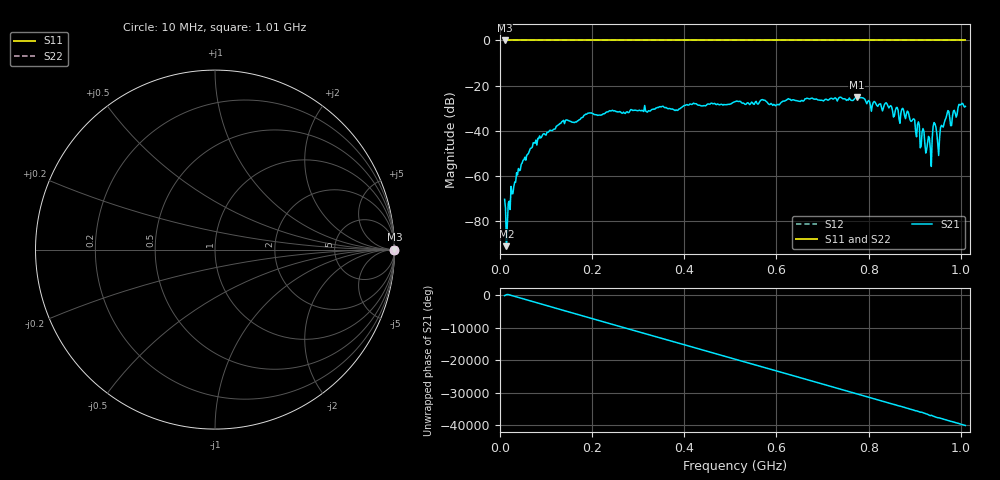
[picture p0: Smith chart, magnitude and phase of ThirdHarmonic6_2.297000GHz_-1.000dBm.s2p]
! 8/17/2025 3:05:39 AM
! C:\ANRITSUVNA\TEMP\TEMP.S2P
! CHANNEL.1
! TR.MEASUREMENT
! RAW.DATA
! RF.CORRECTION.OFF
! AVERAGING.OFF
! IF.BANDWIDTH: 5KHZ
! SWEEPTYPE:  FREQ.SWEEP(Linear)
! Reference Plane Port Info
! PORT:  PORT1  PORT2
! DISTANCE:  0  m  0  m
! TIME:  0  s  0  s
! PHASE.OFFSET:  0  deg.  0  deg.
! LOSS:  0  dB  0  dB
! REF.LOSS:  0  dB  0  dB
! REF.FREQ:  0  Hz  0  Hz
! Power Info
! POWER:  -20  dBm  -20  dBm
! EFF.POWER:  -20  dBm  -20  dBm
! SOURCE.ATTEN:  0  dB  0  dB
! TEST.ATTEN:  0  dB  0  dB
# GHZ S RI R 50.0
! FREQ.GHZ  S11RE  S11IM  S21RE  S21IM  S12RE  S12IM  S22RE  S22IM
!; PortSelection: Port_12
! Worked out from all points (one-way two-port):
!   501 points, 10 MHz to 1.01 GHz, reference 50 ohm
!   highest |S21| = -25.04 dB at 774 MHz (marker M1); lowest = -91.0 dB at 14 MHz (marker M2)
!   lowest |S11| = 0.0 dB at 10 MHz (marker M3)
!   |S11| at or under -10 dB: nowhere
!   |S22| runs from 0.0 to 0.0 dB; largest |S21 - S12| = 1.1
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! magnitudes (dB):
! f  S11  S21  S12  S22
! 10 MHz  0.0  -70.3  0.0  0.0
! 14 MHz  0.0  -91.0  0.0  0.0
! 18 MHz  0.0  -72.0  0.0  0.0
! 22 MHz  0.0  -74.8  0.0  0.0
! 40 MHz  0.0  -56.7  0.0  0.0
! 74 MHz  0.0  -45.3  0.0  0.0
! 134 MHz  0.0  -36.0  0.0  0.0
! 178 MHz  0.0  -34.1  0.0  0.0
! 344 MHz  0.0  -29.7  0.0  0.0
! 510 MHz  0.0  -27.1  0.0  0.0
! 678 MHz  0.0  -25.5  0.0  0.0
! 774 MHz  0.0  -25.0  0.0  0.0
! 844 MHz  0.0  -29.8  0.0  0.0
! 886 MHz  0.0  -31.7  0.0  0.0
! 932 MHz  0.0  -43.4  0.0  0.0
! 938 MHz  0.0  -43.2  0.0  0.0
! 942 MHz  0.0  -36.3  0.0  0.0
! 952 MHz  0.0  -50.9  0.0  0.0
! 970 MHz  0.0  -32.6  0.0  0.0
! 980 MHz  0.0  -37.6  0.0  0.0
! 1 GHz  0.0  -28.5  0.0  0.0
! 1.01 GHz  0.0  -29.2  0.0  0.0
